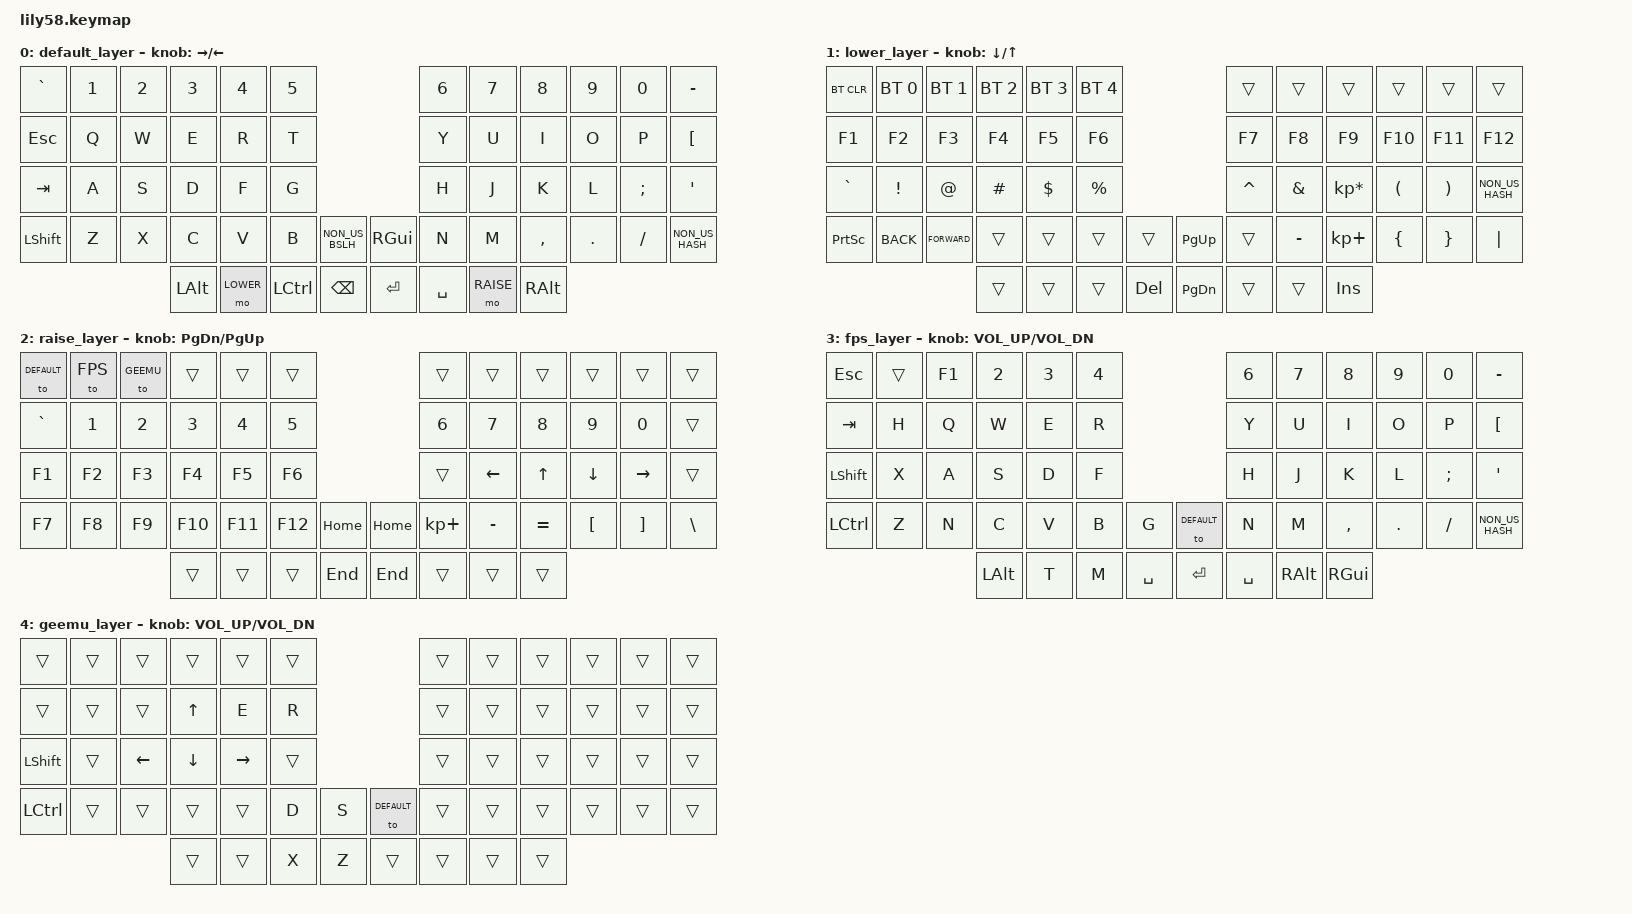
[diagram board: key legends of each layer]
/*
 * Copyright (c) 2020 The ZMK Contributors
 *
 * SPDX-License-Identifier: MIT
 */

#include <behaviors.dtsi>
#include <dt-bindings/zmk/keys.h>
#include <dt-bindings/zmk/bt.h>
#include <dt-bindings/zmk/ext_power.h>

#define DEFAULT 0
#define LOWER 1
#define RAISE 2
#define FPS 3
#define GEEMU 4

/ {
	keymap {
		compatible = "zmk,keymap";

		default_layer {
// ------------------------------------------------------------------------------------------------------------
// |  ESC  |  1  |  2  |  3   |  4   |  5   |                   |  6   |  7    |  8    |  9   |   0   |   `   |
// |  TAB  |  Q  |  W  |  E   |  R   |  T   |                   |  Y   |  U    |  I    |  O   |   P   |   -   |
// |  CTRL |  A  |  S  |  D   |  F   |  G   |                   |  H   |  J    |  K    |  L   |   ;   |   '   |
// | SHIFT |  Z  |  X  |  C   |  V   |  B   |   "["  |  |  "]"  |  N   |  M    |  ,    |  .   |   /   | SHIFT |
//                     | ALT  | GUI  | LOWER|  SPACE |  | ENTER | RAISE| BSPC  | GUI   |
			bindings = <
&kp GRAVE &kp N1 &kp N2 &kp N3   &kp N4    &kp N5                               &kp N6    &kp N7    &kp N8    &kp N9   &kp N0   &kp MINUS
&kp ESC   &kp Q  &kp W  &kp E    &kp R     &kp T                                &kp Y     &kp U     &kp I     &kp O    &kp P    &kp LBKT
&kp TAB   &kp A  &kp S  &kp D    &kp F     &kp G                                &kp H     &kp J     &kp K     &kp L    &kp SEMI &kp SQT
&kp LSHFT &kp Z  &kp X  &kp C    &kp V     &kp B     &kp NON_US_BSLH  &kp RGUI  &kp N     &kp M     &kp COMMA &kp DOT  &kp FSLH &kp NON_US_HASH
                        &kp LALT &mo LOWER &kp LCTRL &kp BSPC         &kp RET   &kp SPACE &mo RAISE &kp RALT
			>;

			sensor-bindings = <&inc_dec_kp RIGHT LEFT>;
		};

		lower_layer {
// ------------------------------------------------------------------------------------------------------------
// | BTCLR | BT1 | BT2 |  BT3 |  BT4 |  BT5 |                   |      |       |       |      |       |       |
// |  F1   |  F2 |  F3 |  F4  |  F5  |  F6  |                   |  F7  |  F8   |  F9   |  F10 |  F11  |  F12  |
// |   `   |  !  |  @  |  #   |  $   |  %   |                   |  ^   |  &    |  *    |  (   |   )   |   ~   |
// |       |     |     |      |      |      |        |  |       |      |  _    |  +    |  {   |   }   |  "|"  |
//                     |      |      |      |        |  |       |      |       |       |
			bindings = <
&bt BT_CLR &bt BT_SEL 0 &bt BT_SEL 1  &bt BT_SEL 2 &bt BT_SEL 3 &bt BT_SEL 4                       &trans    &trans   &trans          &trans    &trans    &trans
&kp F1     &kp F2       &kp F3        &kp F4       &kp F5       &kp F6                             &kp F7    &kp F8   &kp F9          &kp F10   &kp F11   &kp F12
&kp GRAVE  &kp EXCL     &kp AT        &kp HASH     &kp DOLLAR   &kp PRCNT                          &kp CARET &kp AMPS &kp KP_MULTIPLY &kp LPAR  &kp RPAR  &kp NON_US_HASH
&kp PSCRN  &kp K_BACK   &kp K_FORWARD &trans       &trans       &trans       &trans     &kp PG_UP  &trans   &kp MINUS &kp KP_PLUS     &kp LBRC  &kp RBRC  &kp PIPE
                                      &trans       &trans       &trans       &kp DEL    &kp PG_DN  &trans   &trans    &kp INS
			>;

			sensor-bindings = <&inc_dec_kp DOWN UP>;
		};

		raise_layer {
// ------------------------------------------------------------------------------------------------------------
// |       |     |     |      |      |      |                   |      |       |       |      |       |       |
// |   `   |  1  |  2  |  3   |  4   |  5   |                   |  6   |   7   |   8   |  9   |   0   |       |
// |   F1  |  F2 |  F3 |  F4  |  F5  |  F6  |                   |      |   <-  |   ^   |  v   |  ->   |       |
// |   F7  |  F8 |  F9 |  F10 |  F11 |  F12 |        |  |       |  +   |   -   |   =   |  [   |   ]   |   \   |
//                     |      |      |      |        |  |       |      |       |       |
			bindings = <
&to DEFAULT &to FPS &to GEEMU  &trans  &trans  &trans                        &trans      &trans    &trans    &trans   &trans    &trans
&kp GRAVE   &kp N1  &kp N2     &kp N3  &kp N4  &kp N5                        &kp N6      &kp N7    &kp N8    &kp N9   &kp N0    &trans
&kp F1      &kp F2  &kp F3     &kp F4  &kp F5  &kp F6                        &trans      &kp LEFT  &kp UP    &kp DOWN &kp RIGHT &trans
&kp F7      &kp F8  &kp F9     &kp F10 &kp F11 &kp F12  &kp HOME   &kp HOME  &kp KP_PLUS &kp MINUS &kp EQUAL &kp LBKT &kp RBKT  &kp BSLH
                               &trans  &trans  &trans   &kp END    &kp END   &trans      &trans    &trans
			>;

			sensor-bindings = <&inc_dec_kp PG_DN PG_UP>;
		};

        fps_layer {
// ------------------------------------------------------------------------------------------------------------
// |  ESC  |  1  |  2  |  3   |  4   |  5   |                   |  6   |  7    |  8    |  9   |   0   |   `   |
// |  TAB  |  H  |  Q  |  W   |  R   |  T   |                   |  Y   |  U    |  I    |  O   |   P   |   -   |
// |  CTRL |     |  A  |  S   |  D   |  G   |                   |  H   |  J    |  K    |  L   |   ;   |   '   |
// | SHIFT |     |  Z  |      |  N   |  B   |   "["  |  |  "]"  |  N   |  M    |  ,    |  .   |   /   | SHIFT |
//                     | ALT  |  T   |  M   |  SPACE |  | ENTER | RAISE| BSPC  | GUI   |
    bindings = <
&kp ESC   &trans &kp F1 &kp N2   &kp N3 &kp N4                         &kp N6      &kp N7    &kp N8    &kp N9  &kp N0   &kp MINUS
&kp TAB   &kp H  &kp Q  &kp W    &kp E  &kp R                          &kp Y       &kp U     &kp I     &kp O   &kp P    &kp LBKT
&kp LSHFT &kp X  &kp A  &kp S    &kp D  &kp F                          &kp H       &kp J     &kp K     &kp L   &kp SEMI &kp SQT
&kp LCTRL &kp Z  &kp N  &kp C    &kp V  &kp B &kp G        &to DEFAULT &kp N       &kp M     &kp COMMA &kp DOT &kp FSLH &kp NON_US_HASH
                        &kp LALT &kp T  &kp M &kp SPACE    &kp RET     &kp SPACE   &kp RALT  &kp RGUI
    >;

    sensor-bindings = <&inc_dec_kp C_VOL_UP C_VOL_DN>;
        };

        geemu_layer {
// ------------------------------------------------------------------------------------------------------------
// |   |   |   |   |   |   |                    |   |   |   |   |   |   |
// |   |   |   |   |   |   |                    |   |   |   |   |   |   |
// |   |   |   |   |   |   |                    |   |   |   |   |   |   |
// |   |   |   |   |   |   |   |            |   |   |   |   |   |   |   |
//                     |   |   |            |   |   |   |   |   |   |   |
    bindings = <
&trans    &trans &trans   &trans   &trans    &trans                           &trans      &trans    &trans    &trans  &trans   &trans
&trans    &trans &trans   &kp UP   &kp E     &kp R                            &trans      &trans    &trans    &trans  &trans   &trans
&kp LSHFT &trans &kp LEFT &kp DOWN &kp RIGHT &trans                           &trans      &trans    &trans    &trans  &trans   &trans
&kp LCTRL &trans &trans   &trans   &trans    &kp D  &kp S         &to DEFAULT &trans      &trans    &trans    &trans  &trans   &trans
                          &trans   &trans    &kp X  &kp Z         &trans      &trans      &trans    &trans
    >;

    sensor-bindings = <&inc_dec_kp C_VOL_UP C_VOL_DN>;
        };

	};
};

// ------------------------------------------------------------------------------------------------------------
// |   |   |   |   |   |   |                    |   |   |   |   |   |   |
// |   |   |   |   |   |   |                    |   |   |   |   |   |   |
// |   |   |   |   |   |   |                    |   |   |   |   |   |   |
// |   |   |   |   |   |   |   |            |   |   |   |   |   |   |   |
//                     |   |   |            |   |   |   |   |   |   |   |
//    bindings = <
//&trans &trans &trans   &trans   &trans    &trans                           &trans      &trans    &trans    &trans  &trans   &trans
//&trans &trans &trans   &trans   &trans    &trans                           &trans      &trans    &trans    &trans  &trans   &trans
//&trans &trans &trans   &trans   &trans    &trans                           &trans      &trans    &trans    &trans  &trans   &trans
//&trans &trans &trans   &trans   &trans    &trans &trans        &to DEFAULT &trans      &trans    &trans    &trans  &trans   &trans
//                       &trans   &trans    &trans &trans        &trans      &trans      &trans    &trans
//    >;
